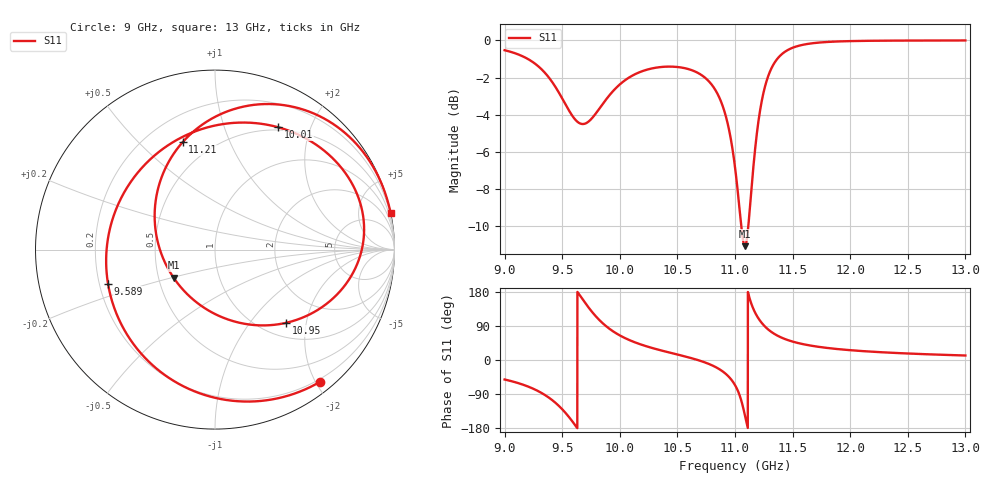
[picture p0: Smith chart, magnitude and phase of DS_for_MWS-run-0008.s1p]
! TOUCHSTONE file generated by CST DESIGN STUDIO
! Date and time: Tue Feb  4 14:37:07 2025
! Project name: C:\Work\MatlabApps\UnitCellOptimizationMatlab\CST\unitcell.cst
! Tree item: Tasks\Sweep1\SPara1\S-Parameters
! Header version: 2024
! Port assignment regex: !\s*Touchstone port\s*([0-9]+)\s*=\s*(CST MWS port|CST DES external port|CST DES block port)\s*(.+)\s* \(\"(.*)\"\)(\s*mode\s*([0-9]+))?.*
! Touchstone port assignment:
! Touchstone port 1 = CST DES external port 1 ("")
# GHz S MA R 50
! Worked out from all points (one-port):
!   4001 points, 9 GHz to 13 GHz, reference 50 ohm
!   lowest |S11| = -11.1 dB at 11.09 GHz (marker M1), VSWR 1.77, Z = 29.9 - j10.1 ohm
!   |S11| at or under -10 dB: 11.05 GHz to 11.12 GHz (61.37 MHz wide, 0.554 % of centre)
!   S11 on the Smith chart (normalised r, x): 9 GHz: 0.16, -2.07; 9.589 GHz: 0.24, -0.15; 10.01 GHz: 0.46, +1.54; 10.95 GHz: 1.28, -1.54; 11.21 GHz: 0.35, +0.68; 13 GHz: 0.01, +9.62
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9  0.9409 -51.4
9.164  0.9038 -65.6
9.316  0.8386 -86.2
9.413  0.7724 -105.8
9.5  0.6976 -129.9
9.589  0.6256 -162.4
9.681  0.5951 158.5
9.792  0.6355 115.2
9.885  0.6957 88.3
10  0.7609 64.9
10.013  0.767 62.8
10.227  0.8324 36.6
10.5  0.8479 14.5
10.779  0.7722 -11.1
10.873  0.691 -25.9
10.951  0.569 -45.8
11  0.4556 -66.1
11.044  0.3397 -96.6
11.086  0.2789 -146.0
11.145  0.4049 145.8
11.21  0.6251 106.8
11.313  0.8368 74.7
11.399  0.9139 59.7
11.5  0.9554 48.6
11.698  0.9846 36.0
12  0.9957 25.9
12.5  0.9991 17.1
13  0.9997 11.9
